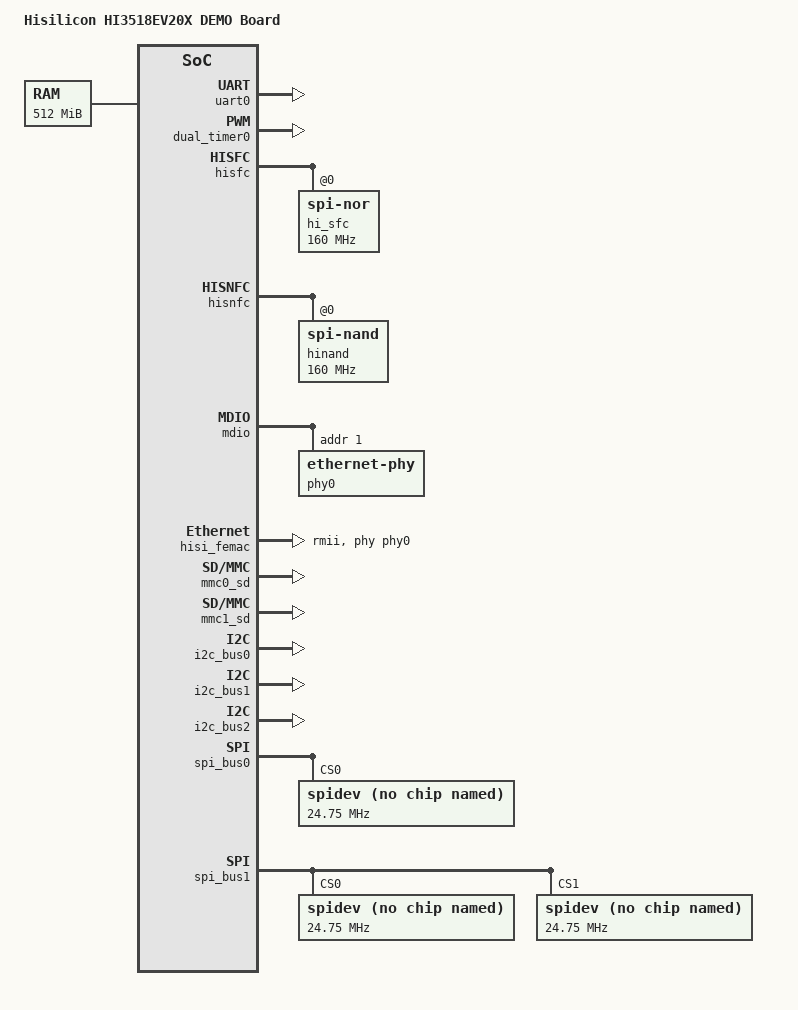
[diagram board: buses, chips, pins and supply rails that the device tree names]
/*
 * Copyright (c) 2013-2014 Linaro Ltd.
 * Copyright (c) 2015-2017 HiSilicon Technologies Co., Ltd.
 *
 * This program is free software; you can redistribute  it and/or modify it
 * under  the terms of  the GNU General  Public License as published by the
 * Free Software Foundation;  either version 2 of the  License, or (at your
 * option) any later version.
 *
 * This program is distributed in the hope that it will be useful,
 * but WITHOUT ANY WARRANTY; without even the implied warranty of
 * MERCHANTABILITY or FITNESS FOR A PARTICULAR PURPOSE. See the
 * GNU General Public License for more details.
 *
 * You should have received a copy of the GNU General Public License
 * along with this program.  If not, see <http://www.gnu.org/licenses/>.
 *
 */

/dts-v1/;
#include "hi3518ev20x.dtsi"

/ {
	model = "Hisilicon HI3518EV20X DEMO Board";
	compatible = "hisilicon,hi3518ev20x";

	aliases {
		serial0 = &uart0;
		serial1 = &uart1;
		serial2 = &uart2;
		i2c0 = &i2c_bus0;
		i2c1 = &i2c_bus1;
		i2c2 = &i2c_bus2;
		spi0 = &spi_bus0;
		spi1 = &spi_bus1;
		gpio0 = &gpio_chip0;
		gpio1 = &gpio_chip1;
		gpio2 = &gpio_chip2;
		gpio3 = &gpio_chip3;
		gpio4 = &gpio_chip4;
		gpio5 = &gpio_chip5;
		gpio6 = &gpio_chip6;
		gpio7 = &gpio_chip7;
		gpio8 = &gpio_chip8;
	};

	memory {
		device_type = "memory";
		reg = <0x80000000 0x20000000>;
	};
};

&uart0 {
	status = "okay";
};

&uart1 {
	status = "disabled";
};

&dual_timer0 {
	status = "okay";
};

&dual_timer1 {
	status = "disabled";
};

&hisfc {
	hi_sfc {
		   compatible = "jedec,spi-nor";
		   reg = <0>;
		   spi-max-frequency = <160000000>;
		   m25p,fast-read;
	};
};

&hisnfc {
	hinand {
		   compatible = "jedec,spi-nand";
		   reg = <0>;
		   spi-max-frequency = <160000000>;
		   m25p,fast-read;
	};
};

&mdio {
	hisilicon,phy-reset-delays-us = <10000 20000 150000>;
	phy0: ethernet-phy@1 {
		reg = <1>;
	};
};

&hisi_femac {
	mac-address = [00 00 00 00 00 00];
	phy-mode = "rmii";
	phy-handle = <&phy0>;
};

&hidmac {
	status = "okay";
};

/* mmc0_emmc and mmc0_sd can not "okay" at the same time */
&mmc0_emmc {
	status = "disabled";
};

&mmc0_sd {
	status = "okay";
};

&mmc1_sd {
	status = "okay";
};

&i2c_bus0 {
	status = "okay";
};

&i2c_bus1 {
	status = "okay";
};

&i2c_bus2 {
	status = "okay";
};

&spi_bus0{
	status = "okay";
	num-cs = <1>;

	spidev@0 {
		compatible = "rohm,dh2228fv";
		reg = <0>;
		pl022,interface = <0>;
		pl022,com-mode = <0>;
		spi-max-frequency = <24750000>;
	};
};

&spi_bus1{
	status = "okay";
	num-cs = <2>;

	spidev@0 {
		compatible = "rohm,dh2228fv";
		reg = <0>;
		pl022,interface = <0>;
		pl022,com-mode = <0>;
		spi-max-frequency = <24750000>;
	};

	spidev@1 {
		compatible = "rohm,dh2228fv";
		reg = <1>;
		pl022,interface = <0>;
		pl022,com-mode = <0>;
		spi-max-frequency = <24750000>;
	};
};

&gpio_chip0 {
    status = "okay";
};

&gpio_chip1 {
    status = "okay";
};

&gpio_chip2 {
    status = "okay";
};

&gpio_chip3 {
    status = "okay";
};

&gpio_chip4 {
    status = "okay";
};

&gpio_chip5 {
    status = "okay";
};

&gpio_chip6 {
    status = "okay";
};

&gpio_chip7 {
    status = "okay";
};

&gpio_chip8 {
    status = "okay";
};
